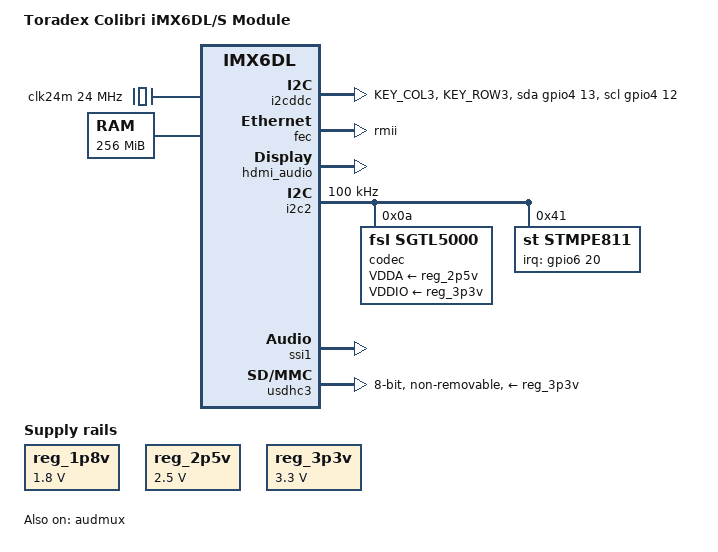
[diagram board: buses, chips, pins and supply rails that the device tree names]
/*
 * Copyright 2014 Toradex AG
 * Copyright 2012 Freescale Semiconductor, Inc.
 * Copyright 2011 Linaro Ltd.
 *
 * The code contained herein is licensed under the GNU General Public
 * License. You may obtain a copy of the GNU General Public License
 * Version 2 or later at the following locations:
 *
 * http://www.opensource.org/licenses/gpl-license.html
 * http://www.gnu.org/copyleft/gpl.html
 */
#include <dt-bindings/input/input.h>

/ {
	model = "Toradex Colibri iMX6DL/S  Module";
	compatible = "toradex,colibri_imx6dl", "fsl,imx6dl";

	aliases {
		mxcfb0 = &mxcfb1;
		mxcfb1 = &mxcfb2;
	};

	backlight: backlight {
		compatible = "pwm-backlight";
		pwms = <&pwm3 0 5000000>;
		status = "disabled";
	};

	clocks {
		clk24m: clk24m {
			compatible = "fixed-clock";
			#clock-cells = <0>;
			clock-frequency = <24000000>;
		};
	};

/*
 * DDC_I2C: I2C2_SDA/SCL on MXM3 pin 205/207
 */
	i2cddc: i2c@0 {
		compatible = "i2c-gpio";
		pinctrl-names = "default";
		pinctrl-0 = <&pinctrl_i2c_ddc>;
		gpios = <&gpio4 13 0 /* sda */
			 &gpio4 12 0 /* scl */
			>;
		i2c-gpio,delay-us = <2>;	/* ~100 kHz */
		#address-cells = <1>;
		#size-cells = <0>;
		status = "okay";
	};

	lcd: lcd@0 {
		compatible = "fsl,lcd";
		ipu_id = <0>;
		disp_id = <0>;
		default_ifmt = "RGB666";
		pinctrl-names = "default";
		pinctrl-0 = <&pinctrl_ipu1_6>;
		status = "disabled";
	};

	memory {
		/* This node is rewritten by U-Boot with the actual memory size */
		reg = <0x10000000 0x10000000>;
	};

	mxcfb1: fb@0 {
		compatible = "fsl,mxc_sdc_fb";
		disp_dev = "hdmi";
		interface_pix_fmt = "RGB24";
		mode_str ="1920x1080M@60";
/*		default_bpp = <16>;*/
		default_bpp = <24>;
		int_clk = <0>;
		late_init = <0>;
		status = "disabled";
	};

	mxcfb2: fb@1 {
		compatible = "fsl,mxc_sdc_fb";
		disp_dev = "lcd";
		interface_pix_fmt = "RGB666";
		mode_str ="EDT-WVGA";
		default_bpp = <16>;
		int_clk = <0>;
		late_init = <0>;
		status = "disabled";
	};

	regulators {
		compatible = "simple-bus";

		reg_1p8v: 1p8v {
			compatible = "regulator-fixed";
			regulator-name = "1P8V";
			regulator-min-microvolt = <1800000>;
			regulator-max-microvolt = <1800000>;
			regulator-always-on;
		};

		reg_2p5v: 2p5v {
			compatible = "regulator-fixed";
			regulator-name = "2P5V";
			regulator-min-microvolt = <2500000>;
			regulator-max-microvolt = <2500000>;
			regulator-always-on;
		};

		reg_3p3v: 3p3v {
			compatible = "regulator-fixed";
			regulator-name = "3P3V";
			regulator-min-microvolt = <3300000>;
			regulator-max-microvolt = <3300000>;
			regulator-always-on;
		};

		reg_usb_host_vbus: usb_host_vbus {
			compatible = "regulator-fixed";
			pinctrl-names = "default";
			pinctrl-0 = <&pinctrl_regulator_usbh_pwr>;
			regulator-name = "usb_host_vbus";
			regulator-min-microvolt = <5000000>;
			regulator-max-microvolt = <5000000>;
			gpio =  <&gpio3 31 0>;
			status = "disabled";
		};
	};

	sound {
		compatible = "fsl,imx6q-apalis-sgtl5000",
			     "fsl,imx-audio-sgtl5000";
		model = "imx6q-apalis-sgtl5000";
		ssi-controller = <&ssi1>;
		audio-codec = <&codec>;
		audio-routing =
			"MIC_IN", "Mic Jack",
			"Mic Jack", "Mic Bias",
			"Headphone Jack", "HP_OUT";
		mux-int-port = <1>;
		mux-ext-port = <5>;
	};

	sound_hdmi: sound-hdmi {
		compatible = "fsl,imx6q-audio-hdmi",
			     "fsl,imx-audio-hdmi";
		model = "imx-audio-hdmi";
		hdmi-controller = <&hdmi_audio>;
		status = "disabled";
	};

	sound_spdif: sound-spdif {
		compatible = "fsl,imx-audio-spdif";
		model = "imx-spdif";
		spdif-controller = <&spdif>;
		spdif-out;
		spdif-in;
		status = "disabled";
	};

	v4l2_out {
		compatible = "fsl,mxc_v4l2_output";
		status = "okay";
	};
};

&audmux {
	pinctrl-names = "default";
	pinctrl-0 = <&pinctrl_audmux_5 &pinctrl_audmux_mclk_2 &pinctrl_mic_gnd>;
	status = "okay";
};

/* Colibri SPI */
&ecspi4 {
	fsl,spi-num-chipselects = <1>;
	cs-gpios = <&gpio5 2 0>;
	pinctrl-names = "default";
	pinctrl-0 = <&pinctrl_ecspi4_1 &pinctrl_spi_cs1>;
	status = "disabled";
};

&fec {
	pinctrl-names = "default";
	pinctrl-0 = <&pinctrl_enet_5>;
	phy-mode = "rmii";
	status = "okay";
};

/* Colibri SDDIMM 55/63 */
&flexcan1 {
	pinctrl-names = "default";
	pinctrl-0 = <&pinctrl_flexcan1_3>;
	status = "disabled";
};

/* Colibri SODOMM 178/188 */
&flexcan2 {
	pinctrl-names = "default";
	pinctrl-0 = <&pinctrl_flexcan2_1>;
	status = "disabled";
};

&hdmi_audio {
	status = "okay";
};

&hdmi_core {
	ipu_id = <0>;
	disp_id = <1>;
	status = "disabled";
};

&hdmi_video {
	fsl,phy_reg_vlev = <0x0294>;
	fsl,phy_reg_cksymtx = <0x800d>;
	status = "disabled";
};

&i2c2 {
	clock-frequency = <100000>;
	pinctrl-names = "default";
	pinctrl-0 = <&pinctrl_i2c2_1>;
	status = "okay";

	codec: sgtl5000@0a {
		compatible = "fsl,sgtl5000";
		reg = <0x0a>;
		clocks = <&clks 201>;
		VDDA-supply = <&reg_2p5v>;
		VDDIO-supply = <&reg_3p3v>;
	};

	/* STMPE811 touch screen controller */
	stmpe811@41 {
		compatible = "st,stmpe811";
		pinctrl-names = "default";
		pinctrl-0 = <&pinctrl_touch_int_1>;
		#address-cells = <1>;
		#size-cells = <0>;
		reg = <0x41>;
		interrupts = <20 IRQ_TYPE_LEVEL_LOW>;
		interrupt-parent = <&gpio6>;
		interrupt-controller;
		id = <0>;
		blocks = <0x5>;
		irq-trigger = <0x1>;
		stmpe_touchscreen {
			compatible = "st,stmpe-ts";
			reg = <0>;
			/* 3.25 MHz ADC clock speed */
			st,adc-freq = <1>;
			/* 8 sample average control */
			st,ave-ctrl = <3>;
			/* 7 length fractional part in z */
			st,fraction-z = <7>;
			/*
			 * 50 mA typical 80 mA max touchscreen drivers
			 * current limit value
			 */
			st,i-drive = <1>;
			/* 12-bit ADC */
			st,mod-12b = <1>;
			/* internal ADC reference */
			st,ref-sel = <0>;
			/* ADC converstion time: 80 clocks */
			st,sample-time = <4>;
			/* 1 ms panel driver settling time */
			st,settling = <3>;
			/* 5 ms touch detect interrupt delay */
			st,touch-det-delay = <5>;
		};
		stmpe_adc {
			compatible = "st,stmpe-adc";
			/* 3.25 MHz ADC clock speed */
			st,adc-freq = <1>;
			/* 12-bit ADC */
			st,mod-12b = <1>;
			/* internal ADC reference */
			st,ref-sel = <0>;
			/* ADC converstion time: 80 clocks */
			st,sample-time = <4>;
		};
	};
};

/*
 * I2C: I2C3_SDA/SCL on SODIMM pin 194/196 (e.g. RTC on carrier
 * board)
 */
&i2c3 {
	clock-frequency = <100000>;
	pinctrl-names = "default";
	pinctrl-0 = <&pinctrl_i2c3_2>;
	status = "disabled";
};

/* PAD Ctrl Values for Common Settings */
#define PAD_CTRL_HYS_PU 0x1b0b0 /*(PAD_CTL_HYS | PAD_CTL_PUS_100K_UP | PAD_CTL_PUE | PAD_CTL_PKE | PAD_CTL_SPEED_MED | PAD_CTL_DSE_40ohm)*/
#define PAD_CTRL_HYS_PD 0x130b0 /*(PAD_CTL_HYS | PAD_CTL_PUE | PAD_CTL_PKE | PAD_CTL_SPEED_MED | PAD_CTL_DSE_40ohm)*/
#define PAD_CTRL_PU_22k 0x0f058 /*(PAD_CTL_PUS_22K_UP | PAD_CTL_PUE | PAD_CTL_PKE | PAD_CTL_SPEED_LOW | PAD_CTL_DSE_80ohm)*/
#define PAD_CTRL_IN 0x0040 /*( PAD_CTL_SPEED_LOW )*/
#define PAD_CTRL_NO 0x80000000

//TODO
&iomuxc {
	imx6dl-colibri {
		pinctrl_audmux_mclk_2: audmux_mclk-2 {
			fsl,pins = <
				MX6QDL_PAD_GPIO_0__CCM_CLKO1		0x000b0		/* SGTL5000 sys_mclk */
			>;
		};
		pinctrl_gpio_keys: gpio_keys {
			fsl,pins = <
				MX6QDL_PAD_EIM_A16__GPIO2_IO22		PAD_CTRL_HYS_PD	/* Power Button */
			>;
		};
		pinctrl_i2c_ddc: i2c_ddc {
			fsl,pins = <
				MX6QDL_PAD_KEY_COL3__GPIO4_IO12		PAD_CTRL_HYS_PU	/* DDC bitbang */
				MX6QDL_PAD_KEY_ROW3__GPIO4_IO13		PAD_CTRL_HYS_PU	/* DDC bitbang */
			>;
		};
		pinctrl_mic_gnd: gpio_mic_gnd {
			fsl,pins = <
				MX6QDL_PAD_RGMII_TD1__GPIO6_IO21	PAD_CTRL_HYS_PU	/* Controlls Mic GND, PU or '1' pull Mic GND to GND */
			>;
		};
		pinctrl_mmc_cd: gpio_mmc_cd {
			fsl,pins = <
				MX6QDL_PAD_NANDF_D5__GPIO2_IO05		PAD_CTRL_NO	/* MMC1 CD */
			>;
		};
		pinctrl_pwm_a_cif_d7: pwm_d_cif_d7 {
			fsl,pins = <
				MX6QDL_PAD_EIM_A22__GPIO2_IO16		PAD_CTRL_IN	/* disable, muxed with PWM<A> */
			>;
		};
		pinctrl_pwm_d_cif_d6: pwm_d_cif_d6 {
			fsl,pins = <
				MX6QDL_PAD_EIM_A21__GPIO2_IO17		PAD_CTRL_IN	/* disable, muxed with PWM<D> */
			>;
		};
		pinctrl_regulator_usbh_pwr: gpio_regulator_usbh_pwr {
			fsl,pins = <
				MX6QDL_PAD_EIM_D31__GPIO3_IO31		PAD_CTRL_PU_22k	/* USBH_EN */
			>;
		};
#if 0 //TODO
		pinctrl_regulator_usbotg_pwr: gpio_regulator_usbotg_pwr {
			fsl,pins = <
				MX6QDL_PAD_EIM_D22__GPIO3_IO22		PAD_CTRL_PU_22k	/* USBO power en */
			>;
		};
#endif
		pinctrl_spi_cs1: spi_cs1 {
			fsl,pins = <
				MX6QDL_PAD_EIM_A25__GPIO5_IO02		PAD_CTRL_NO	/* SPI cs */
			>;
		};
		pinctrl_touch_int_1: touch_int-1 {
			fsl,pins = <
				MX6QDL_PAD_RGMII_TD0__GPIO6_IO20	PAD_CTRL_HYS_PU /* STMPE811 interrupt */
			>;
		};
		pinctrl_usbh_oc_1: usbh_oc-1 {
			fsl,pins = <
				/* USBH_OC */
				MX6QDL_PAD_EIM_D30__GPIO3_IO30		PAD_CTRL_HYS_PU
			>;
		};
		pinctrl_usbc_id_1: usbc_id-1 {
			fsl,pins = <
				/* USBC_ID */
				MX6QDL_PAD_NANDF_D2__GPIO2_IO02		PAD_CTRL_HYS_PU
			>;
		};
		pinctrl_usbc_det_1: usbc_det-1 {
			fsl,pins = <
				/* USBC_DET */
				MX6QDL_PAD_GPIO_17__GPIO7_IO12		PAD_CTRL_HYS_PU
			>;
		};
	};
	csi {
		/* CSI pins used as GPIO */
		pinctrl_csi_gpio_1: csi_gpio-1 {
			fsl,pins = <
				MX6QDL_PAD_EIM_A24__GPIO5_IO04   PAD_CTRL_HYS_PU
				MX6QDL_PAD_SD2_CMD__GPIO1_IO11   PAD_CTRL_HYS_PU
				MX6QDL_PAD_NANDF_CS2__GPIO6_IO15 PAD_CTRL_HYS_PU
				MX6QDL_PAD_EIM_D18__GPIO3_IO18   PAD_CTRL_HYS_PU
				MX6QDL_PAD_EIM_A19__GPIO2_IO19   PAD_CTRL_HYS_PU
				MX6QDL_PAD_EIM_D29__GPIO3_IO29   PAD_CTRL_HYS_PD
				MX6QDL_PAD_EIM_A23__GPIO6_IO06   PAD_CTRL_HYS_PU
				MX6QDL_PAD_EIM_A20__GPIO2_IO18   PAD_CTRL_HYS_PU
				MX6QDL_PAD_EIM_A17__GPIO2_IO21   PAD_CTRL_HYS_PU
				MX6QDL_PAD_EIM_A18__GPIO2_IO20   PAD_CTRL_HYS_PU
				MX6QDL_PAD_EIM_EB3__GPIO2_IO31   PAD_CTRL_HYS_PU
				MX6QDL_PAD_EIM_D17__GPIO3_IO17   PAD_CTRL_HYS_PU
				MX6QDL_PAD_SD2_DAT0__GPIO1_IO15  PAD_CTRL_HYS_PU
			>;
		};
	};
	gpio {
		pinctrl_gpio_1: gpio-1 {
			fsl,pins = <
				MX6QDL_PAD_GPIO_7__GPIO1_IO07       PAD_CTRL_HYS_PU
				MX6QDL_PAD_GPIO_8__GPIO1_IO08       PAD_CTRL_HYS_PU
				MX6QDL_PAD_EIM_D26__GPIO3_IO26      PAD_CTRL_HYS_PU
				MX6QDL_PAD_EIM_D27__GPIO3_IO27      PAD_CTRL_HYS_PU
				MX6QDL_PAD_NANDF_D6__GPIO2_IO06     PAD_CTRL_HYS_PU
				MX6QDL_PAD_NANDF_D3__GPIO2_IO03     PAD_CTRL_HYS_PU
				MX6QDL_PAD_ENET_REF_CLK__GPIO1_IO23 PAD_CTRL_HYS_PU
				MX6QDL_PAD_DI0_PIN4__GPIO4_IO20     PAD_CTRL_HYS_PU
				MX6QDL_PAD_SD4_DAT3__GPIO2_IO11     PAD_CTRL_HYS_PU
				MX6QDL_PAD_NANDF_D4__GPIO2_IO04     PAD_CTRL_HYS_PU
				MX6QDL_PAD_SD4_DAT0__GPIO2_IO08     PAD_CTRL_HYS_PU
			>;
		};
	};
	weim {
		pinctrl_weim_cs1_1: weim_cs1grp-1 {
			fsl,pins = <
				MX6QDL_PAD_EIM_CS1__EIM_CS1_B   0xb0b1 /* nEXT_CS1 */
			>;
		};
		pinctrl_weim_cs2_1: weim_cs2grp-1 {
			fsl,pins = <
				MX6QDL_PAD_SD2_DAT1__EIM_CS2_B  0xb0b1 /* nEXT_CS2 */
			>;
		};
		pinctrl_weim_sram_1: weim_sramgrp-1 {
			fsl,pins = <
				MX6QDL_PAD_EIM_OE__EIM_OE_B     0xb0b1
				MX6QDL_PAD_EIM_RW__EIM_RW       0xb0b1
				/* data */
				MX6QDL_PAD_CSI0_DATA_EN__EIM_DATA00 0x1b0b0
				MX6QDL_PAD_CSI0_VSYNC__EIM_DATA01 0x1b0b0
				MX6QDL_PAD_CSI0_DAT4__EIM_DATA02 0x1b0b0
				MX6QDL_PAD_CSI0_DAT5__EIM_DATA03 0x1b0b0
				MX6QDL_PAD_CSI0_DAT6__EIM_DATA04 0x1b0b0
				MX6QDL_PAD_CSI0_DAT7__EIM_DATA05 0x1b0b0
				MX6QDL_PAD_CSI0_DAT8__EIM_DATA06 0x1b0b0
				MX6QDL_PAD_CSI0_DAT9__EIM_DATA07 0x1b0b0
				MX6QDL_PAD_CSI0_DAT12__EIM_DATA08 0x1b0b0
				MX6QDL_PAD_CSI0_DAT13__EIM_DATA09 0x1b0b0
				MX6QDL_PAD_CSI0_DAT14__EIM_DATA10 0x1b0b0
				MX6QDL_PAD_CSI0_DAT15__EIM_DATA11 0x1b0b0
				MX6QDL_PAD_CSI0_DAT16__EIM_DATA12 0x1b0b0
				MX6QDL_PAD_CSI0_DAT17__EIM_DATA13 0x1b0b0
				MX6QDL_PAD_CSI0_DAT18__EIM_DATA14 0x1b0b0
				MX6QDL_PAD_CSI0_DAT19__EIM_DATA15 0x1b0b0
				/* address */
				MX6QDL_PAD_EIM_DA15__EIM_AD15  0xb0b1
				MX6QDL_PAD_EIM_DA14__EIM_AD14  0xb0b1
				MX6QDL_PAD_EIM_DA13__EIM_AD13  0xb0b1
				MX6QDL_PAD_EIM_DA12__EIM_AD12  0xb0b1
				MX6QDL_PAD_EIM_DA11__EIM_AD11  0xb0b1
				MX6QDL_PAD_EIM_DA10__EIM_AD10  0xb0b1
				MX6QDL_PAD_EIM_DA9__EIM_AD09   0xb0b1
				MX6QDL_PAD_EIM_DA8__EIM_AD08   0xb0b1
				MX6QDL_PAD_EIM_DA7__EIM_AD07   0xb0b1
				MX6QDL_PAD_EIM_DA6__EIM_AD06   0xb0b1
				MX6QDL_PAD_EIM_DA5__EIM_AD05   0xb0b1
				MX6QDL_PAD_EIM_DA4__EIM_AD04   0xb0b1
				MX6QDL_PAD_EIM_DA3__EIM_AD03   0xb0b1
				MX6QDL_PAD_EIM_DA2__EIM_AD02   0xb0b1
				MX6QDL_PAD_EIM_DA1__EIM_AD01   0xb0b1
				MX6QDL_PAD_EIM_DA0__EIM_AD00   0xb0b1
			>;
		};
		/* ADDRESS[16:18] [25] used as GPIO */
		pinctrl_weim_gpio_1: weim_gpio-1 {
			fsl,pins = <
				MX6QDL_PAD_KEY_ROW4__GPIO4_IO15    PAD_CTRL_HYS_PU
				MX6QDL_PAD_KEY_ROW2__GPIO4_IO11    PAD_CTRL_HYS_PU
				MX6QDL_PAD_KEY_COL2__GPIO4_IO10    PAD_CTRL_HYS_PU
				MX6QDL_PAD_DISP0_DAT23__GPIO5_IO17 PAD_CTRL_HYS_PU
				MX6QDL_PAD_DISP0_DAT22__GPIO5_IO16 PAD_CTRL_HYS_PU
				MX6QDL_PAD_DISP0_DAT21__GPIO5_IO15 PAD_CTRL_HYS_PU
				MX6QDL_PAD_DISP0_DAT20__GPIO5_IO14 PAD_CTRL_HYS_PU
				MX6QDL_PAD_DISP0_DAT19__GPIO5_IO13 PAD_CTRL_HYS_PU
				MX6QDL_PAD_DISP0_DAT18__GPIO5_IO12 PAD_CTRL_HYS_PU
				MX6QDL_PAD_NANDF_D1__GPIO2_IO01    PAD_CTRL_HYS_PU
			>;
		};
		/* ADDRESS[19:24] used as GPIO */
		pinctrl_weim_gpio_2: weim_gpio-2 {
			fsl,pins = <
				MX6QDL_PAD_KEY_ROW4__GPIO4_IO15    PAD_CTRL_HYS_PU
				MX6QDL_PAD_KEY_ROW2__GPIO4_IO11    PAD_CTRL_HYS_PU
				MX6QDL_PAD_KEY_COL2__GPIO4_IO10    PAD_CTRL_HYS_PU
				MX6QDL_PAD_DISP0_DAT23__GPIO5_IO17 PAD_CTRL_HYS_PU
				MX6QDL_PAD_DISP0_DAT22__GPIO5_IO16 PAD_CTRL_HYS_PU
				MX6QDL_PAD_DISP0_DAT21__GPIO5_IO15 PAD_CTRL_HYS_PU
				MX6QDL_PAD_DISP0_DAT20__GPIO5_IO14 PAD_CTRL_HYS_PU
				MX6QDL_PAD_DISP0_DAT19__GPIO5_IO13 PAD_CTRL_HYS_PU
				MX6QDL_PAD_DISP0_DAT18__GPIO5_IO12 PAD_CTRL_HYS_PU
				MX6QDL_PAD_NANDF_D1__GPIO2_IO01    PAD_CTRL_HYS_PU
			>;
		};
		/* DATA[16:31]  used as GPIO */
		pinctrl_weim_gpio_3: weim_gpio-3 {
			fsl,pins = <
				MX6QDL_PAD_EIM_LBA__GPIO2_IO27     PAD_CTRL_HYS_PU
				MX6QDL_PAD_EIM_BCLK__GPIO6_IO31    PAD_CTRL_HYS_PU
				MX6QDL_PAD_NANDF_CS3__GPIO6_IO16   PAD_CTRL_HYS_PU
				MX6QDL_PAD_NANDF_CS1__GPIO6_IO14   PAD_CTRL_HYS_PU
				MX6QDL_PAD_NANDF_RB0__GPIO6_IO10   PAD_CTRL_HYS_PU
				MX6QDL_PAD_NANDF_ALE__GPIO6_IO08   PAD_CTRL_HYS_PU
				MX6QDL_PAD_NANDF_WP_B__GPIO6_IO09  PAD_CTRL_HYS_PU
				MX6QDL_PAD_NANDF_CS0__GPIO6_IO11   PAD_CTRL_HYS_PU
				MX6QDL_PAD_NANDF_CLE__GPIO6_IO07   PAD_CTRL_HYS_PU
				MX6QDL_PAD_GPIO_19__GPIO4_IO05     PAD_CTRL_HYS_PU
				MX6QDL_PAD_CSI0_MCLK__GPIO5_IO19   PAD_CTRL_HYS_PU
				MX6QDL_PAD_CSI0_PIXCLK__GPIO5_IO18 PAD_CTRL_HYS_PU
				MX6QDL_PAD_GPIO_4__GPIO1_IO04      PAD_CTRL_HYS_PU
				MX6QDL_PAD_GPIO_5__GPIO1_IO05      PAD_CTRL_HYS_PU
				MX6QDL_PAD_KEY_COL4__GPIO4_IO14    PAD_CTRL_HYS_PU
				MX6QDL_PAD_GPIO_2__GPIO1_IO02      PAD_CTRL_HYS_PU
			>;
		};
		/* DQM[0:3]  used as GPIO */
		pinctrl_weim_gpio_4: weim_gpio-4 {
			fsl,pins = <
				MX6QDL_PAD_EIM_EB0__GPIO2_IO28  PAD_CTRL_HYS_PU
				MX6QDL_PAD_EIM_EB1__GPIO2_IO29  PAD_CTRL_HYS_PU
				MX6QDL_PAD_SD2_DAT2__GPIO1_IO13 PAD_CTRL_HYS_PU
				MX6QDL_PAD_NANDF_D0__GPIO2_IO00 PAD_CTRL_HYS_PU
			>;
		};
		/* RDY  used as GPIO */
		pinctrl_weim_gpio_5: weim_gpio-5 {
			fsl,pins = <
				MX6QDL_PAD_EIM_WAIT__GPIO5_IO00 PAD_CTRL_HYS_PU
			>;
		};
	};
};

/* PWM B */
&pwm1 {
	pinctrl-names = "default";
	pinctrl-0 = <&pinctrl_pwm1_3>;
	status = "disabled";
};
/* PWM D */
&pwm2 {
	pinctrl-names = "default";
	pinctrl-0 = <&pinctrl_pwm2_2 &pinctrl_pwm_d_cif_d6>;
	status = "disabled";
};
/* PWM A */
&pwm3 {
	pinctrl-names = "default";
	pinctrl-0 = <&pinctrl_pwm3_1 &pinctrl_pwm_a_cif_d7>;
	status = "disabled";
};
/* PWM C */
&pwm4 {
	pinctrl-names = "default";
	pinctrl-0 = <&pinctrl_pwm4_1>;
	status = "disabled";
};

/* S/PDIF out on SODIMM137 */
&spdif {
	pinctrl-names = "default";
	pinctrl-0 = <&pinctrl_spdif_3>;
	status = "disabled";
};

&ssi1 {
	fsl,mode = "i2s-slave";
	status = "okay";
};

/* UART A */
&uart1 {
	pinctrl-names = "default";
	pinctrl-0 = <&pinctrl_uart1_3 &pinctrl_uart1_4>;
#if 1
	fsl,dte-mode;
	fsl,uart-has-rtscts;
#endif
	status = "disabled";
};

/* UART B */
&uart2 {
	pinctrl-names = "default";
	pinctrl-0 = <&pinctrl_uart2_5>;
	fsl,dte-mode;
	fsl,uart-has-rtscts;
	status = "disabled";
};

/* UART_C */
&uart3 {
	pinctrl-names = "default";
	pinctrl-0 = <&pinctrl_uart3_4>;
	fsl,dte-mode;
	status = "disabled";
};

&usbh1 {
	vbus-supply = <&reg_usb_host_vbus>;
	status = "disabled";
};

&usbotg {
	pinctrl-names = "default";
//	pinctrl-0 = <&pinctrl_usbotg_2>;
	disable-over-current;
//	dr_mode = "host"; //working when connected at boot
	dr_mode = "otg"; //working as peripheral
	status = "disabled";
};

/* MMC */
&usdhc1 {
	label = "MMC1";
	pinctrl-names = "default";
	pinctrl-0 = <&pinctrl_usdhc1_1 &pinctrl_mmc_cd>;
	cd-gpios = <&gpio2 5 0>;
	vmmc-supply = <&reg_3p3v>;
	bus-width = <4>;
	no-1-8-v;
	status = "disabled";
};

/* eMMC */
&usdhc3 {
	pinctrl-names = "default";
	pinctrl-0 = <&pinctrl_usdhc3_1>;
	vmmc-supply = <&reg_3p3v>;
	bus-width = <8>;
	non-removable;
	status = "okay";
};

&weim {
	pinctrl-names = "default";
	pinctrl-0 = <&pinctrl_weim_sram_1  &pinctrl_weim_cs0_1
	             &pinctrl_weim_cs1_1   &pinctrl_weim_cs2_1>;
	#address-cells = <2>;
	#size-cells = <1>;
	status = "disabled";
};
